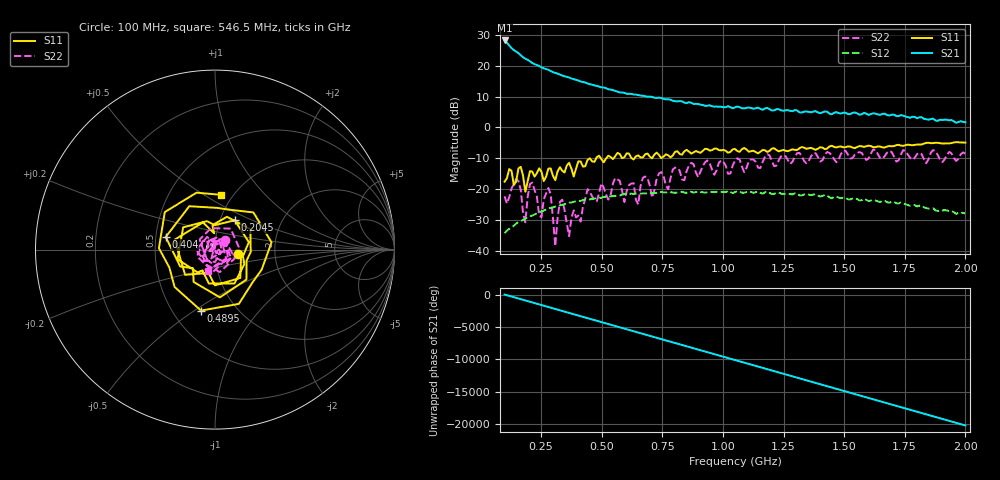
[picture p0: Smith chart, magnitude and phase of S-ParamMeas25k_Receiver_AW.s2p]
!Keysight Technologies,N5242B,MY48420967,A.15.65.19
!Date: Saturday, February 04, 2023 01:33:04
!Correction: S11(C  1-Port  )
!S21(Off)
!S12(Off)
!S22(Off)
!S2P File: Measurements: S11, S21, S12, S22:
# Hz S  dB  R 50
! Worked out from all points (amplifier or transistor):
!   201 points, 100 MHz to 2 GHz, reference 50 ohm
!   highest |S21| = 28.2 dB at 100 MHz (marker M1)
!   |S21| within 3 dB of that: start of sweep to 136.4 MHz
!   unconditionally stable (mu >= 1): start of sweep to end of sweep
!   at 413.5 MHz: K = 1.46, MAG = 15.3 dB, |S12| = -23.8 dB
!   at 1.05 GHz: K = 2.11, MAG = 7.7 dB, |S12| = -20.9 dB
!   at 2 GHz: K = 5.80, MAG = 4.2 dB, |S12| = -27.9 dB
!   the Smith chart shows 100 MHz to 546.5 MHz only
!   S11 on the Smith chart (normalised r, x): 100 MHz: 1.30, -0.07; 204.5 MHz: 1.17, +0.40; 404 MHz: 0.56, +0.09; 489.5 MHz: 0.69, -0.53; 546.5 MHz: 0.88, +0.60
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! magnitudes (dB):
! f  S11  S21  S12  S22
! 100 MHz  -17.6  28.2  -34.2  -22.3
! 157 MHz  -13.2  24.0  -30.6  -17.4
! 185.5 MHz  -20.8  22.3  -29.5  -30.7
! 204.5 MHz  -14.1  21.4  -28.7  -18.3
! 252 MHz  -14.3  19.5  -27.2  -29.1
! 280.5 MHz  -13.3  18.7  -26.2  -19.6
! 309 MHz  -17.1  17.7  -25.6  -38.4
! 328 MHz  -12.9  17.1  -25.2  -24.1
! 366 MHz  -11.4  16.2  -24.4  -35.2
! 404 MHz  -11.0  15.2  -23.8  -28.5
! 423 MHz  -12.7  14.7  -23.5  -25.6
! 489.5 MHz  -9.2  13.2  -22.8  -21.3
! 546.5 MHz  -10.3  12.1  -22.2  -18.2
! 632 MHz  -10.4  10.7  -21.5  -18.0
! 651 MHz  -9.0  10.5  -21.4  -24.9
! 670 MHz  -9.7  10.3  -21.3  -16.3
! 708 MHz  -10.0  9.9  -21.1  -22.7
! 736.5 MHz  -8.9  9.6  -20.9  -14.9
! 1.05 GHz  -6.9  6.5  -20.9  -10.7
! 1.373 GHz  -6.9  5.1  -21.7  -8.2
! 1.687 GHz  -6.0  3.8  -24.4  -7.6
! 2 GHz  -4.9  1.7  -27.9  -8.5
